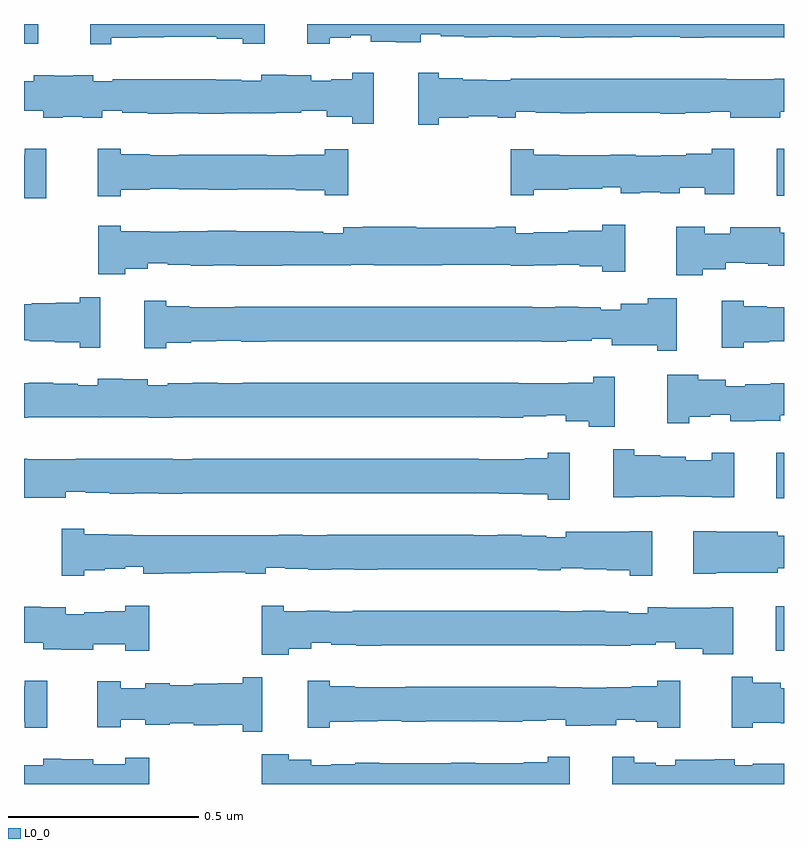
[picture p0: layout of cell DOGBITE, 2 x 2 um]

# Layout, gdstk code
import gdstk
lib = gdstk.Library(unit=1e-6, precision=1e-10)
def R(c, l, rs):  # rectangles x0, y0, x1, y1
    for r in rs: c.add(gdstk.rectangle(r[:2], r[2:], *l))
def P(c, l, *ps):  # polygons
    for p in ps: c.add(gdstk.Polygon(p, *l))
L0_0 = (0, 0)

dogbite = lib.new_cell('DOGBITE')
R(dogbite, L0_0, [(10.9785,9.3513,11,9.4683), (10.9796,9.7515,11,9.8718), (10.9805,10.5477,11,10.6719), (9,10.9474,9.0379,11)])
P(dogbite, L0_0, [(9,9.0498),(9.0501,9.0498),(9.0501,9.0661),(9.0981,9.0661),(9.0981,9.0655),(9.1821,9.0655),(9.1821,9.0526),(9.2661,9.0526),(9.2661,9.0693),(9.3297,9.0693),(9.3297,9),(9,9)],
  [(9.6262,9.0788),(9.6961,9.0788),(9.6961,9.0639),(9.7561,9.0639),(9.7561,9.0487),(9.8081,9.0487),(9.8081,9.0524),(9.8714,9.0524),(9.8714,9.0559),(9.9348,9.0559),(9.9348,9.0547),(9.9981,9.0547),(9.9981,9.0548),(10.0614,9.0548),(10.0614,9.0544),(10.1248,9.0544),(10.1248,9.056),(10.1881,9.056),(10.1881,9.0543),(10.2514,9.0543),(10.2514,9.0551),(10.3148,9.0551),(10.3148,9.0577),(10.3781,9.0577),(10.3781,9.0716),(10.4358,9.0716),(10.4358,9),(9.6262,9)],
  [(10.5482,9.0711),(10.6061,9.0711),(10.6061,9.056),(10.6621,9.056),(10.6621,9.0496),(10.7141,9.0496),(10.7141,9.0642),(10.7661,9.0642),(10.7661,9.0636),(10.8181,9.0636),(10.8181,9.0655),(10.8701,9.0655),(10.8701,9.0488),(10.9181,9.0488),(10.9181,9.0535),(10.9911,9.0535),(10.9911,9.0534),(11,9.0534),(11,9),(10.5482,9)],
  [(9.6276,9.2813),(9.6276,9.1381),(9.5761,9.1381),(9.5761,9.1543),(9.5117,9.1543),(9.5117,9.1549),(9.4473,9.1549),(9.4473,9.1595),(9.3829,9.1595),(9.3829,9.1565),(9.3185,9.1565),(9.3185,9.1694),(9.2541,9.1694),(9.2541,9.1489),(9.1929,9.1489),(9.1929,9.2702),(9.2541,9.2702),(9.2541,9.2516),(9.3185,9.2516),(9.3185,9.2648),(9.3829,9.2648),(9.3829,9.2601),(9.4473,9.2601),(9.4473,9.2634),(9.5117,9.2634),(9.5117,9.2652),(9.5761,9.2652),(9.5761,9.2813)],
  [(10.9911,9.1599),(10.9911,9.1607),(10.9181,9.1607),(10.9181,9.1476),(10.8619,9.1476),(10.8619,9.2817),(10.9181,9.2817),(10.9181,9.2669),(10.9911,9.2669),(10.9911,9.2517),(11,9.2517),(11,9.1599)],
  [(10.7264,9.2717),(10.7264,9.148),(10.6661,9.148),(10.6661,9.1644),(10.6101,9.1644),(10.6101,9.1695),(10.5581,9.1695),(10.5581,9.1543),(10.4921,9.1543),(10.4921,9.1534),(10.4261,9.1534),(10.4261,9.1692),(10.3741,9.1692),(10.3741,9.1658),(10.3108,9.1658),(10.3108,9.164),(10.2474,9.164),(10.2474,9.1646),(10.1841,9.1646),(10.1841,9.1636),(10.1208,9.1636),(10.1208,9.1638),(10.0574,9.1638),(10.0574,9.1635),(9.9941,9.1635),(9.9941,9.1651),(9.9308,9.1651),(9.9308,9.1647),(9.8674,9.1647),(9.8674,9.1633),(9.8041,9.1633),(9.8041,9.1476),(9.7464,9.1476),(9.7464,9.2716),(9.8041,9.2716),(9.8041,9.2567),(9.8704,9.2567),(9.8704,9.2546),(10.003,9.2546),(10.003,9.2557),(10.0693,9.2557),(10.0693,9.2554),(10.1356,9.2554),(10.1356,9.2556),(10.2019,9.2556),(10.2019,9.2559),(10.2683,9.2559),(10.2683,9.2554),(10.3346,9.2554),(10.3346,9.2559),(10.4009,9.2559),(10.4009,9.2551),(10.4672,9.2551),(10.4672,9.2536),(10.5335,9.2536),(10.5335,9.2546),(10.5998,9.2546),(10.5998,9.257),(10.6661,9.257),(10.6661,9.2717)],
  [(9.0021,9.2573),(9.0021,9.2719),(9.0615,9.2719),(9.0615,9.1476),(9.0021,9.1476),(9.0021,9.1637),(9,9.1637),(9,9.2573)],
  [(9.0441,9.4666),(9.0441,9.4655),(9.1101,9.4655),(9.1101,9.4465),(9.1581,9.4465),(9.1581,9.4517),(9.2121,9.4517),(9.2121,9.4551),(9.2661,9.4551),(9.2661,9.4694),(9.3296,9.4694),(9.3296,9.3507),(9.2661,9.3507),(9.2661,9.3675),(9.1821,9.3675),(9.1821,9.3534),(9.0981,9.3534),(9.0981,9.354),(9.0501,9.354),(9.0501,9.3712),(9,9.3712),(9,9.4666)],
  [(9.6841,9.4696),(9.6841,9.4552),(9.7445,9.4552),(9.7445,9.4558),(9.8049,9.4558),(9.8049,9.4538),(9.8653,9.4538),(9.8653,9.456),(9.9257,9.456),(9.9257,9.4559),(9.9861,9.4559),(9.9861,9.4558),(10.0465,9.4558),(10.0465,9.4557),(10.1069,9.4557),(10.1069,9.4556),(10.2277,9.4556),(10.2277,9.4555),(10.2881,9.4555),(10.2881,9.4554),(10.3485,9.4554),(10.3485,9.4557),(10.4089,9.4557),(10.4089,9.4546),(10.4693,9.4546),(10.4693,9.456),(10.5297,9.456),(10.5297,9.4529),(10.5901,9.4529),(10.5901,9.4494),(10.6421,9.4494),(10.6421,9.4654),(10.6901,9.4654),(10.6901,9.4641),(10.7501,9.4641),(10.7501,9.4632),(10.8101,9.4632),(10.8101,9.4648),(10.8659,9.4648),(10.8659,9.3419),(10.7861,9.3419),(10.7861,9.356),(10.7141,9.356),(10.7141,9.3724),(10.6621,9.3724),(10.6621,9.3665),(10.5964,9.3665),(10.5964,9.364),(10.5307,9.364),(10.5307,9.3649),(10.465,9.3649),(10.465,9.3637),(10.3993,9.3637),(10.3993,9.364),(10.2679,9.364),(10.2679,9.3638),(10.2023,9.3638),(10.2023,9.3639),(10.1366,9.3639),(10.1366,9.3638),(10.0709,9.3638),(10.0709,9.3636),(10.0052,9.3636),(10.0052,9.3643),(9.9395,9.3643),(9.9395,9.3638),(9.8738,9.3638),(9.8738,9.3663),(9.8081,9.3663),(9.8081,9.3712),(9.7561,9.3712),(9.7561,9.3557),(9.6961,9.3557),(9.6961,9.3405),(9.6258,9.3405),(9.6258,9.4696)],
  [(9.1581,9.6711),(9.1581,9.657),(9.2221,9.657),(9.2221,9.6555),(9.2861,9.6555),(9.2861,9.654),(9.3501,9.654),(9.3501,9.6541),(9.5421,9.6541),(9.5421,9.654),(9.6061,9.654),(9.6061,9.6546),(9.6701,9.6546),(9.6701,9.6558),(9.7341,9.6558),(9.7341,9.6552),(9.7981,9.6552),(9.7981,9.6555),(9.9261,9.6555),(9.9261,9.6556),(10.0541,9.6556),(10.0541,9.6557),(10.1181,9.6557),(10.1181,9.6555),(10.1821,9.6555),(10.1821,9.6549),(10.2461,9.6549),(10.2461,9.6557),(10.3101,9.6557),(10.3101,9.6536),(10.3741,9.6536),(10.3741,9.6494),(10.4261,9.6494),(10.4261,9.6641),(10.5941,9.6641),(10.5941,9.6652),(10.6535,9.6652),(10.6535,9.548),(10.5941,9.548),(10.5941,9.5625),(10.5337,9.5625),(10.5337,9.5646),(10.4733,9.5646),(10.4733,9.5676),(10.4129,9.5676),(10.4129,9.5629),(10.3525,9.5629),(10.3525,9.5643),(10.2921,9.5643),(10.2921,9.5637),(10.1713,9.5637),(10.1713,9.5638),(10.0505,9.5638),(10.0505,9.5639),(9.9901,9.5639),(9.9901,9.5637),(9.9297,9.5637),(9.9297,9.5643),(9.8693,9.5643),(9.8693,9.5648),(9.8089,9.5648),(9.8089,9.5637),(9.7485,9.5637),(9.7485,9.5665),(9.6881,9.5665),(9.6881,9.5694),(9.6361,9.5694),(9.6361,9.5539),(9.5841,9.5539),(9.5841,9.5557),(9.5114,9.5557),(9.5114,9.556),(9.4388,9.556),(9.4388,9.5551),(9.3661,9.5551),(9.3661,9.5539),(9.3141,9.5539),(9.3141,9.5716),(9.2661,9.5716),(9.2661,9.5667),(9.2121,9.5667),(9.2121,9.5627),(9.1581,9.5627),(9.1581,9.5482),(9.0995,9.5482),(9.0995,9.6711)],
  [(10.9834,9.5675),(10.9834,9.5565),(10.8221,9.5565),(10.8221,9.5537),(10.7615,9.5537),(10.7615,9.6655),(10.8221,9.6655),(10.8221,9.6642),(10.9834,9.6642),(10.9834,9.6531),(11,9.6531),(11,9.5675)],
  [(10.6061,9.8804),(10.6061,9.8656),(10.6741,9.8656),(10.6741,9.8612),(10.7421,9.8612),(10.7421,9.8521),(10.8101,9.8521),(10.8101,9.8716),(10.8696,9.8716),(10.8696,9.7543),(10.8101,9.7543),(10.8101,9.7556),(10.7421,9.7556),(10.7421,9.7577),(10.6741,9.7577),(10.6741,9.7565),(10.6061,9.7565),(10.6061,9.7542),(10.5504,9.7542),(10.5504,9.8804)],
  [(9.0081,9.8553),(9.0081,9.8542),(9.0721,9.8542),(9.0721,9.8546),(9.1361,9.8546),(9.1361,9.8561),(9.2001,9.8561),(9.2001,9.8553),(9.2641,9.8553),(9.2641,9.8554),(9.3281,9.8554),(9.3281,9.8556),(9.3921,9.8556),(9.3921,9.8551),(9.4441,9.8551),(9.4441,9.8555),(9.5401,9.8555),(9.5401,9.8554),(9.713,9.8554),(9.713,9.8556),(9.7735,9.8556),(9.7735,9.8557),(10.0758,9.8557),(10.0758,9.8555),(10.1363,9.8555),(10.1363,9.856),(10.1967,9.856),(10.1967,9.8545),(10.2572,9.8545),(10.2572,9.8546),(10.3176,9.8546),(10.3176,9.857),(10.3781,9.857),(10.3781,9.8717),(10.436,9.8717),(10.436,9.7476),(10.3781,9.7476),(10.3781,9.7621),(10.3141,9.7621),(10.3141,9.764),(10.2501,9.764),(10.2501,9.7656),(10.1861,9.7656),(10.1861,9.7634),(10.1221,9.7634),(10.1221,9.7638),(10.0581,9.7638),(10.0581,9.7637),(9.8021,9.7637),(9.8021,9.7639),(9.7381,9.7639),(9.7381,9.7635),(9.5461,9.7635),(9.5461,9.7636),(9.4821,9.7636),(9.4821,9.7635),(9.4181,9.7635),(9.4181,9.7637),(9.3541,9.7637),(9.3541,9.7645),(9.2901,9.7645),(9.2901,9.7639),(9.2261,9.7639),(9.2261,9.7661),(9.1621,9.7661),(9.1621,9.7694),(9.1101,9.7694),(9.1101,9.7533),(9,9.7533),(9,9.8553)],
  [(9.0123,10.0549),(9.0123,10.0559),(9.0772,10.0559),(9.0772,10.0532),(9.1421,10.0532),(9.1421,10.05),(9.1941,10.05),(9.1941,10.0661),(9.2601,10.0661),(9.2601,10.0655),(9.3261,10.0655),(9.3261,10.0495),(9.3781,10.0495),(9.3781,10.054),(9.444,10.054),(9.444,10.0556),(9.5099,10.0556),(9.5099,10.0552),(9.5757,10.0552),(9.5757,10.0558),(9.6416,10.0558),(9.6416,10.0557),(9.7075,10.0557),(9.7075,10.0555),(9.7734,10.0555),(9.7734,10.0556),(9.8393,10.0556),(9.8393,10.0555),(10.0369,10.0555),(10.0369,10.0556),(10.1028,10.0556),(10.1028,10.0557),(10.1687,10.0557),(10.1687,10.0558),(10.2346,10.0558),(10.2346,10.0556),(10.3005,10.0556),(10.3005,10.0549),(10.3663,10.0549),(10.3663,10.0551),(10.4322,10.0551),(10.4322,10.0562),(10.4981,10.0562),(10.4981,10.0717),(10.5544,10.0717),(10.5544,9.9403),(10.4861,9.9403),(10.4861,9.9547),(10.4261,9.9547),(10.4261,9.9706),(10.3741,9.9706),(10.3741,9.9672),(10.3139,9.9672),(10.3139,9.9641),(10.2538,9.9641),(10.2538,9.9648),(10.1936,9.9648),(10.1936,9.9637),(10.1335,9.9637),(10.1335,9.9636),(10.0733,9.9636),(10.0733,9.9638),(9.8929,9.9638),(9.8929,9.9639),(9.8327,9.9639),(9.8327,9.9637),(9.7124,9.9637),(9.7124,9.9639),(9.6523,9.9639),(9.6523,9.964),(9.5921,9.964),(9.5921,9.9636),(9.5401,9.9636),(9.5401,9.964),(9.3921,9.964),(9.3921,9.9637),(9.3285,9.9637),(9.3285,9.9652),(9.2012,9.9652),(9.2012,9.964),(9.1376,9.964),(9.1376,9.9636),(9.0739,9.9636),(9.0739,9.9644),(9.0103,9.9644),(9.0103,9.9638),(9,9.9638),(9,10.0549)],
  [(10.9901,9.9699),(10.9901,9.954),(10.9241,9.954),(10.9241,9.9547),(10.8581,9.9547),(10.8581,9.9715),(10.8061,9.9715),(10.8061,9.9667),(10.7501,9.9667),(10.7501,9.9489),(10.6934,9.9489),(10.6934,10.0766),(10.7741,10.0766),(10.7741,10.0637),(10.8461,10.0637),(10.8461,10.0471),(10.8981,10.0471),(10.8981,10.0515),(10.965,10.0515),(10.965,10.0552),(11,10.0552),(11,9.9699)],
  [(10.7179,10.2777),(10.7179,10.1406),(10.6661,10.1406),(10.6661,10.1549),(10.5461,10.1549),(10.5461,10.1711),(10.4941,10.1711),(10.4941,10.1664),(10.4282,10.1664),(10.4282,10.1643),(10.3623,10.1643),(10.3623,10.1649),(10.2965,10.1649),(10.2965,10.164),(10.2306,10.164),(10.2306,10.1641),(10.1647,10.1641),(10.1647,10.1643),(10.0988,10.1643),(10.0988,10.1642),(9.9012,10.1642),(9.9012,10.1641),(9.8353,10.1641),(9.8353,10.164),(9.7694,10.164),(9.7694,10.1638),(9.6376,10.1638),(9.6376,10.1636),(9.5717,10.1636),(9.5717,10.1648),(9.5059,10.1648),(9.5059,10.1646),(9.44,10.1646),(9.44,10.1617),(9.3741,10.1617),(9.3741,10.1473),(9.3164,10.1473),(9.3164,10.2715),(9.3741,10.2715),(9.3741,10.257),(9.4343,10.257),(9.4343,10.2547),(9.4945,10.2547),(9.4945,10.2543),(9.5547,10.2543),(9.5547,10.2559),(9.6149,10.2559),(9.6149,10.2557),(9.7354,10.2557),(9.7354,10.2559),(9.8558,10.2559),(9.8558,10.256),(9.916,10.256),(9.916,10.2562),(10.0364,10.2562),(10.0364,10.2561),(10.217,10.2561),(10.217,10.2558),(10.2773,10.2558),(10.2773,10.2561),(10.3375,10.2561),(10.3375,10.2548),(10.3977,10.2548),(10.3977,10.2553),(10.4579,10.2553),(10.4579,10.2542),(10.5181,10.2542),(10.5181,10.2485),(10.5701,10.2485),(10.5701,10.2634),(10.6421,10.2634),(10.6421,10.2777)],
  [(9.0208,10.2631),(9.0208,10.2657),(9.0834,10.2657),(9.0834,10.2661),(9.1461,10.2661),(9.1461,10.2811),(9.2009,10.2811),(9.2009,10.148),(9.1461,10.148),(9.1461,10.1631),(9.0803,10.1631),(9.0803,10.165),(9.0145,10.165),(9.0145,10.1672),(9,10.1672),(9,10.2631)],
  [(10.961,10.1648),(10.961,10.1621),(10.8941,10.1621),(10.8941,10.1478),(10.8361,10.1478),(10.8361,10.2718),(10.8941,10.2718),(10.8941,10.2568),(10.955,10.2568),(10.955,10.2552),(11,10.2552),(11,10.1648)],
  [(10.959,10.3642),(10.959,10.3685),(10.8981,10.3685),(10.8981,10.3723),(10.8461,10.3723),(10.8461,10.3548),(10.7861,10.3548),(10.7861,10.3392),(10.7169,10.3392),(10.7169,10.4669),(10.7921,10.4669),(10.7921,10.4484),(10.8581,10.4484),(10.8581,10.4655),(10.9901,10.4655),(10.9901,10.4502),(11,10.4502),(11,10.3642)],
  [(10.582,10.4717),(10.582,10.3477),(10.5221,10.3477),(10.5221,10.3627),(10.4619,10.3627),(10.4619,10.3651),(10.4017,10.3651),(10.4017,10.3648),(10.3415,10.3648),(10.3415,10.3637),(10.2813,10.3637),(10.2813,10.365),(10.221,10.365),(10.221,10.3656),(10.1608,10.3656),(10.1608,10.3654),(10.1006,10.3654),(10.1006,10.3655),(9.92,10.3655),(9.92,10.3658),(9.8598,10.3658),(9.8598,10.3643),(9.7996,10.3643),(9.7996,10.364),(9.6792,10.364),(9.6792,10.3638),(9.5587,10.3638),(9.5587,10.365),(9.4985,10.365),(9.4985,10.3636),(9.4383,10.3636),(9.4383,10.3666),(9.3781,10.3666),(9.3781,10.3705),(9.3261,10.3705),(9.3261,10.3553),(9.2661,10.3553),(9.2661,10.3409),(9.1956,10.3409),(9.1956,10.4696),(9.2541,10.4696),(9.2541,10.4541),(9.3304,10.4541),(9.3304,10.4536),(9.4067,10.4536),(9.4067,10.4551),(9.483,10.4551),(9.483,10.4558),(9.5592,10.4558),(9.5592,10.455),(9.7118,10.455),(9.7118,10.4534),(9.7881,10.4534),(9.7881,10.4493),(9.8401,10.4493),(9.8401,10.4648),(9.8921,10.4648),(9.8921,10.4663),(10.0321,10.4663),(10.0321,10.4639),(10.1021,10.4639),(10.1021,10.4633),(10.1721,10.4633),(10.1721,10.4642),(10.2421,10.4642),(10.2421,10.4659),(10.2941,10.4659),(10.2941,10.4499),(10.3421,10.4499),(10.3421,10.4522),(10.4321,10.4522),(10.4321,10.456),(10.5221,10.456),(10.5221,10.4717)],
  [(9.2541,10.6723),(9.2541,10.6572),(9.331,10.6572),(9.331,10.654),(9.4078,10.654),(9.4078,10.6555),(9.4847,10.6555),(9.4847,10.6558),(9.5615,10.6558),(9.5615,10.6562),(9.6384,10.6562),(9.6384,10.6542),(9.7152,10.6542),(9.7152,10.656),(9.7921,10.656),(9.7921,10.6701),(9.8536,10.6701),(9.8536,10.5493),(9.7921,10.5493),(9.7921,10.5631),(9.7152,10.5631),(9.7152,10.5649),(9.6384,10.5649),(9.6384,10.564),(9.5615,10.564),(9.5615,10.5638),(9.4847,10.5638),(9.4847,10.5645),(9.4078,10.5645),(9.4078,10.5659),(9.331,10.5659),(9.331,10.5643),(9.2541,10.5643),(9.2541,10.5472),(9.1946,10.5472),(9.1946,10.6723)],
  [(9.0021,10.6562),(9.0021,10.6718),(9.0591,10.6718),(9.0591,10.541),(9,10.541),(9,10.6562)],
  [(10.8692,10.6714),(10.8692,10.552),(10.7921,10.552),(10.7921,10.5697),(10.7261,10.5697),(10.7261,10.5541),(10.6741,10.5541),(10.6741,10.5566),(10.6221,10.5566),(10.6221,10.5542),(10.5701,10.5542),(10.5701,10.5699),(10.5221,10.5699),(10.5221,10.5667),(10.4321,10.5667),(10.4321,10.5637),(10.3421,10.5637),(10.3421,10.549),(10.2807,10.549),(10.2807,10.67),(10.3421,10.67),(10.3421,10.6565),(10.409,10.6565),(10.409,10.6551),(10.4758,10.6551),(10.4758,10.6552),(10.5427,10.6552),(10.5427,10.6557),(10.6095,10.6557),(10.6095,10.6531),(10.6764,10.6531),(10.6764,10.6545),(10.7432,10.6545),(10.7432,10.658),(10.8101,10.658),(10.8101,10.6714)],
  [(10.9901,10.7693),(10.9901,10.7535),(10.8581,10.7535),(10.8581,10.7697),(10.8061,10.7697),(10.8061,10.7658),(10.7404,10.7658),(10.7404,10.7643),(10.6747,10.7643),(10.6747,10.7645),(10.5432,10.7645),(10.5432,10.7648),(10.4775,10.7648),(10.4775,10.7652),(10.4118,10.7652),(10.4118,10.766),(10.3461,10.766),(10.3461,10.7696),(10.2941,10.7696),(10.2941,10.7537),(10.2461,10.7537),(10.2461,10.7571),(10.1691,10.7571),(10.1691,10.753),(10.0921,10.753),(10.0921,10.7349),(10.0371,10.7349),(10.0371,10.8714),(10.0921,10.8714),(10.0921,10.8569),(10.1552,10.8569),(10.1552,10.8539),(10.2182,10.8539),(10.2182,10.8523),(10.2813,10.8523),(10.2813,10.8563),(10.3443,10.8563),(10.3443,10.8558),(10.4704,10.8558),(10.4704,10.8559),(10.5335,10.8559),(10.5335,10.856),(10.5965,10.856),(10.5965,10.8559),(10.6596,10.8559),(10.6596,10.8557),(10.7226,10.8557),(10.7226,10.8556),(10.7857,10.8556),(10.7857,10.8558),(10.8487,10.8558),(10.8487,10.8546),(10.9748,10.8546),(10.9748,10.8554),(11,10.8554),(11,10.7693)],
  [(9.0261,10.8498),(9.0261,10.8651),(9.0781,10.8651),(9.0781,10.8633),(9.1301,10.8633),(9.1301,10.8652),(9.1821,10.8652),(9.1821,10.8489),(9.2341,10.8489),(9.2341,10.854),(9.3017,10.854),(9.3017,10.8547),(9.3693,10.8547),(9.3693,10.8546),(9.4369,10.8546),(9.4369,10.8552),(9.5045,10.8552),(9.5045,10.8537),(9.5721,10.8537),(9.5721,10.8504),(9.6241,10.8504),(9.6241,10.8663),(9.6901,10.8663),(9.6901,10.8647),(9.7561,10.8647),(9.7561,10.8505),(9.8081,10.8505),(9.8081,10.8551),(9.8641,10.8551),(9.8641,10.8711),(9.9201,10.8711),(9.9201,10.7378),(9.8641,10.7378),(9.8641,10.7554),(9.7968,10.7554),(9.7968,10.7721),(9.7294,10.7721),(9.7294,10.7659),(9.6621,10.7659),(9.6621,10.7655),(9.5948,10.7655),(9.5948,10.7639),(9.5274,10.7639),(9.5274,10.7644),(9.4601,10.7644),(9.4601,10.7645),(9.3928,10.7645),(9.3928,10.7641),(9.3254,10.7641),(9.3254,10.766),(9.2581,10.766),(9.2581,10.7713),(9.2061,10.7713),(9.2061,10.7527),(9.1541,10.7527),(9.1541,10.756),(9.1021,10.756),(9.1021,10.7531),(9.0501,10.7531),(9.0501,10.7714),(9,10.7714),(9,10.8498)],
  [(9.6336,10.9474),(9.5761,10.9474),(9.5761,10.9616),(9.5069,10.9616),(9.5069,10.9646),(9.3685,10.9646),(9.3685,10.9647),(9.2993,10.9647),(9.2993,10.9634),(9.2301,10.9634),(9.2301,10.9472),(9.1741,10.9472),(9.1741,11),(9.6336,11)],
  [(11,10.9636),(10.9788,10.9636),(10.9788,10.9635),(10.9158,10.9635),(10.9158,10.9636),(10.8527,10.9636),(10.8527,10.9641),(10.7897,10.9641),(10.7897,10.9637),(10.7266,10.9637),(10.7266,10.9648),(10.6636,10.9648),(10.6636,10.965),(10.6005,10.965),(10.6005,10.9647),(10.5375,10.9647),(10.5375,10.9635),(10.4744,10.9635),(10.4744,10.9643),(10.4114,10.9643),(10.4114,10.9652),(10.3483,10.9652),(10.3483,10.9657),(10.2853,10.9657),(10.2853,10.9662),(10.2222,10.9662),(10.2222,10.9653),(10.1592,10.9653),(10.1592,10.9674),(10.0961,10.9674),(10.0961,10.9729),(10.0441,10.9729),(10.0441,10.9526),(9.9781,10.9526),(9.9781,10.9531),(9.9121,10.9531),(9.9121,10.9704),(9.8601,10.9704),(9.8601,10.9639),(9.8041,10.9639),(9.8041,10.948),(9.7459,10.948),(9.7459,11),(11,11)])

lib.write_gds('DOGBITE.gds')
